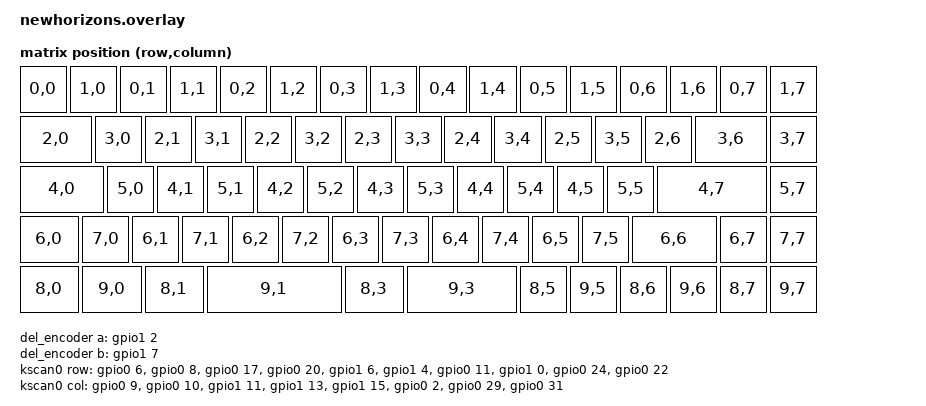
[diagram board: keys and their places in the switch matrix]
/*
 * Copyright (c) 2025 The ZMK Contributors
 *
 * SPDX-License-Identifier: MIT
 */

#include <dt-bindings/zmk/matrix_transform.h>
#include <physical_layouts.dtsi>

/ {
    chosen {
        zmk,kscan = &kscan0;
    };

    default_transform: keymap_transform_0 {
        compatible = "zmk,matrix-transform";
        rows = <5>;
        columns = <16>;

        map = <
            RC(0,0) RC(1,0) RC(0,1) RC(1,1) RC(0,2) RC(1,2) RC(0,3) RC(1,3) RC(0,4) RC(1,4) RC(0,5) RC(1,5) RC(0,6) RC(1,6) RC(0,7) RC(1,7)
              RC(2,0)  RC(3,0) RC(2,1) RC(3,1) RC(2,2) RC(3,2) RC(2,3) RC(3,3) RC(2,4) RC(3,4) RC(2,5) RC(3,5) RC(2,6)   RC(3,6)    RC(3,7)
               RC(4,0)  RC(5,0) RC(4,1) RC(5,1) RC(4,2) RC(5,2) RC(4,3) RC(5,3) RC(4,4) RC(5,4) RC(4,5) RC(5,5)       RC(4,7)       RC(5,7)
             RC(6,0)  RC(7,0) RC(6,1) RC(7,1) RC(6,2) RC(7,2) RC(6,3) RC(7,3) RC(6,4) RC(7,4) RC(6,5) RC(7,5)    RC(6,6)    RC(6,7) RC(7,7)
            RC(8,0)  RC(9,0)  RC(8,1)          RC(9,1)         RC(8,3)        RC(9,3)       RC(8,5) RC(9,5) RC(8,6) RC(9,6) RC(8,7) RC(9,7)
        >;
    };

    del_encoder: encoder_del {
        compatible = "alps,ec11";
        a-gpios = <&gpio1 2 (GPIO_ACTIVE_HIGH | GPIO_PULL_UP)>;
        b-gpios = <&gpio1 7 (GPIO_ACTIVE_HIGH | GPIO_PULL_UP)>;
        steps = <36>;
        status = "okay";
    };

    sensors: sensors {
        compatible = "zmk,keymap-sensors";
        sensors = <&del_encoder>;
        triggers-per-rotation = <36>;
    };

    kscan0: kscan_0 {
        compatible = "zmk,kscan-gpio-matrix";
        diode-direction = "row2col";

        row-gpios
            = <&gpio0 6 GPIO_ACTIVE_HIGH> // row 0
            , <&gpio0 8 GPIO_ACTIVE_HIGH> // row 1
            , <&gpio0 17 GPIO_ACTIVE_HIGH> // row 2
            , <&gpio0 20 GPIO_ACTIVE_HIGH> // row 3
            , <&gpio1 6 GPIO_ACTIVE_HIGH> // row 4
            , <&gpio1 4 GPIO_ACTIVE_HIGH> // row 5
            , <&gpio0 11 GPIO_ACTIVE_HIGH> // row 6
            , <&gpio1 0 GPIO_ACTIVE_HIGH> // row 7
            , <&gpio0 24 GPIO_ACTIVE_HIGH> // row 8
            , <&gpio0 22 GPIO_ACTIVE_HIGH> // row 9
            ;

        col-gpios
            = <&gpio0 9 (GPIO_ACTIVE_HIGH | GPIO_PULL_DOWN)> // col 0
            , <&gpio0 10 (GPIO_ACTIVE_HIGH | GPIO_PULL_DOWN)> // col 1
            , <&gpio1 11 (GPIO_ACTIVE_HIGH | GPIO_PULL_DOWN)> // col 2
            , <&gpio1 13 (GPIO_ACTIVE_HIGH | GPIO_PULL_DOWN)> // col 3
            , <&gpio1 15 (GPIO_ACTIVE_HIGH | GPIO_PULL_DOWN)> // col 4
            , <&gpio0 2 (GPIO_ACTIVE_HIGH | GPIO_PULL_DOWN)> // col 5
            , <&gpio0 29 (GPIO_ACTIVE_HIGH | GPIO_PULL_DOWN)> // col 6
            , <&gpio0 31 (GPIO_ACTIVE_HIGH | GPIO_PULL_DOWN)> // col 7
            ;
    };

    layout_0: layout_0 {
        compatible = "zmk,physical-layout";
        display-name = "Default";

        transform = <&default_transform>;

        keys  //                     w   h    x    y     rot    rx    ry
            = <&key_physical_attrs 100 100    0    0       0     0     0>
            , <&key_physical_attrs 100 100  100    0       0     0     0>
            , <&key_physical_attrs 100 100  200    0       0     0     0>
            , <&key_physical_attrs 100 100  300    0       0     0     0>
            , <&key_physical_attrs 100 100  400    0       0     0     0>
            , <&key_physical_attrs 100 100  500    0       0     0     0>
            , <&key_physical_attrs 100 100  600    0       0     0     0>
            , <&key_physical_attrs 100 100  700    0       0     0     0>
            , <&key_physical_attrs 100 100  800    0       0     0     0>
            , <&key_physical_attrs 100 100  900    0       0     0     0>
            , <&key_physical_attrs 100 100 1000    0       0     0     0>
            , <&key_physical_attrs 100 100 1100    0       0     0     0>
            , <&key_physical_attrs 100 100 1200    0       0     0     0>
            , <&key_physical_attrs 100 100 1300    0       0     0     0>
            , <&key_physical_attrs 100 100 1400    0       0     0     0>
            , <&key_physical_attrs 100 100 1500    0       0     0     0>
            , <&key_physical_attrs 150 100    0  100       0     0     0>
            , <&key_physical_attrs 100 100  150  100       0     0     0>
            , <&key_physical_attrs 100 100  250  100       0     0     0>
            , <&key_physical_attrs 100 100  350  100       0     0     0>
            , <&key_physical_attrs 100 100  450  100       0     0     0>
            , <&key_physical_attrs 100 100  550  100       0     0     0>
            , <&key_physical_attrs 100 100  650  100       0     0     0>
            , <&key_physical_attrs 100 100  750  100       0     0     0>
            , <&key_physical_attrs 100 100  850  100       0     0     0>
            , <&key_physical_attrs 100 100  950  100       0     0     0>
            , <&key_physical_attrs 100 100 1050  100       0     0     0>
            , <&key_physical_attrs 100 100 1150  100       0     0     0>
            , <&key_physical_attrs 100 100 1250  100       0     0     0>
            , <&key_physical_attrs 150 100 1350  100       0     0     0>
            , <&key_physical_attrs 100 100 1500  100       0     0     0>
            , <&key_physical_attrs 175 100    0  200       0     0     0>
            , <&key_physical_attrs 100 100  175  200       0     0     0>
            , <&key_physical_attrs 100 100  275  200       0     0     0>
            , <&key_physical_attrs 100 100  375  200       0     0     0>
            , <&key_physical_attrs 100 100  475  200       0     0     0>
            , <&key_physical_attrs 100 100  575  200       0     0     0>
            , <&key_physical_attrs 100 100  675  200       0     0     0>
            , <&key_physical_attrs 100 100  775  200       0     0     0>
            , <&key_physical_attrs 100 100  875  200       0     0     0>
            , <&key_physical_attrs 100 100  975  200       0     0     0>
            , <&key_physical_attrs 100 100 1075  200       0     0     0>
            , <&key_physical_attrs 100 100 1175  200       0     0     0>
            , <&key_physical_attrs 225 100 1275  200       0     0     0>
            , <&key_physical_attrs 100 100 1500  200       0     0     0>
            , <&key_physical_attrs 125 100    0  300       0     0     0>
            , <&key_physical_attrs 100 100  125  300       0     0     0>
            , <&key_physical_attrs 100 100  225  300       0     0     0>
            , <&key_physical_attrs 100 100  325  300       0     0     0>
            , <&key_physical_attrs 100 100  425  300       0     0     0>
            , <&key_physical_attrs 100 100  525  300       0     0     0>
            , <&key_physical_attrs 100 100  625  300       0     0     0>
            , <&key_physical_attrs 100 100  725  300       0     0     0>
            , <&key_physical_attrs 100 100  825  300       0     0     0>
            , <&key_physical_attrs 100 100  925  300       0     0     0>
            , <&key_physical_attrs 100 100 1025  300       0     0     0>
            , <&key_physical_attrs 100 100 1125  300       0     0     0>
            , <&key_physical_attrs 175 100 1225  300       0     0     0>
            , <&key_physical_attrs 100 100 1400  300       0     0     0>
            , <&key_physical_attrs 100 100 1500  300       0     0     0>
            , <&key_physical_attrs 125 100    0  400       0     0     0>
            , <&key_physical_attrs 125 100  125  400       0     0     0>
            , <&key_physical_attrs 125 100  250  400       0     0     0>
            , <&key_physical_attrs 275 100  375  400       0     0     0>
            , <&key_physical_attrs 125 100  650  400       0     0     0>
            , <&key_physical_attrs 225 100  775  400       0     0     0>
            , <&key_physical_attrs 100 100 1000  400       0     0     0>
            , <&key_physical_attrs 100 100 1100  400       0     0     0>
            , <&key_physical_attrs 100 100 1200  400       0     0     0>
            , <&key_physical_attrs 100 100 1300  400       0     0     0>
            , <&key_physical_attrs 100 100 1400  400       0     0     0>
            , <&key_physical_attrs 100 100 1500  400       0     0     0>
            ;
    };
};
